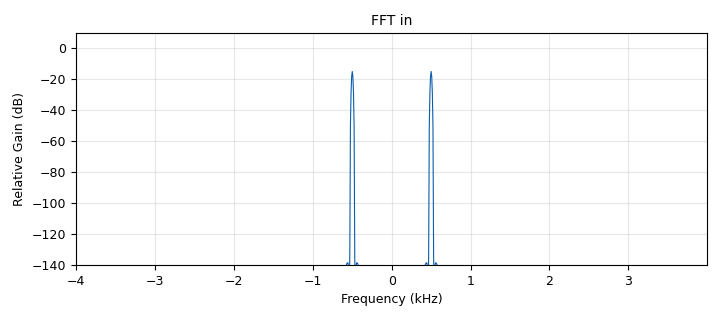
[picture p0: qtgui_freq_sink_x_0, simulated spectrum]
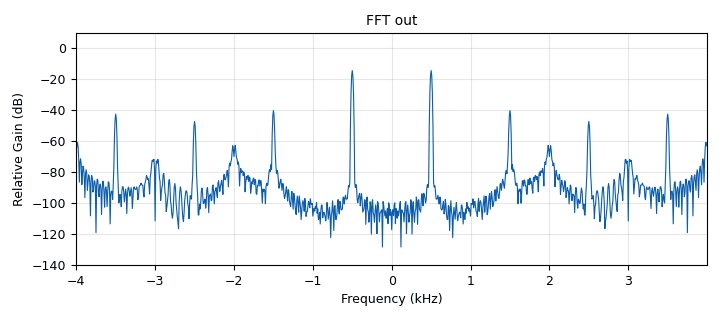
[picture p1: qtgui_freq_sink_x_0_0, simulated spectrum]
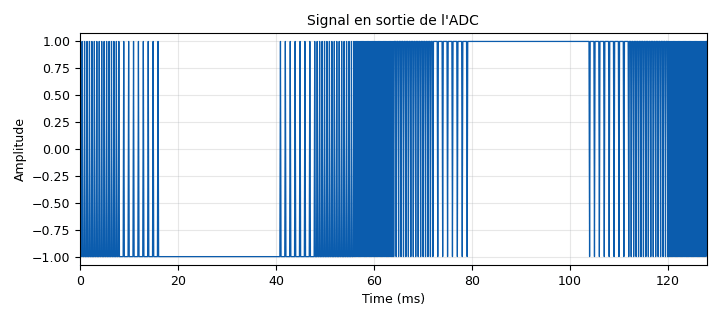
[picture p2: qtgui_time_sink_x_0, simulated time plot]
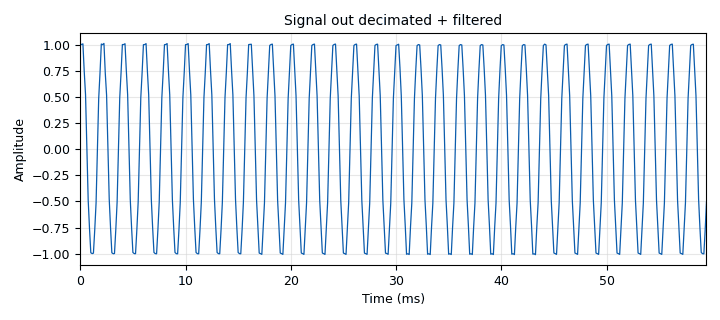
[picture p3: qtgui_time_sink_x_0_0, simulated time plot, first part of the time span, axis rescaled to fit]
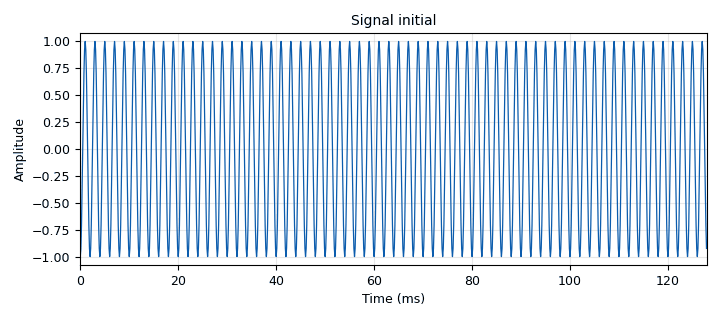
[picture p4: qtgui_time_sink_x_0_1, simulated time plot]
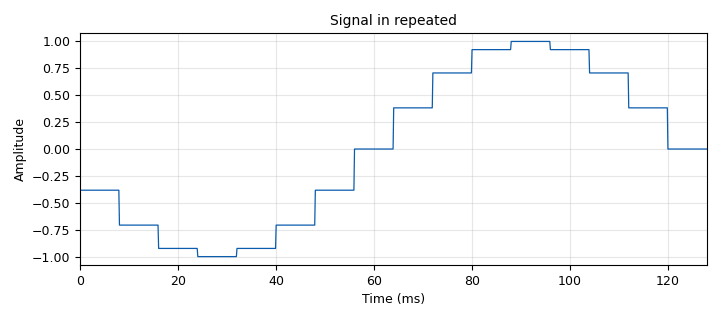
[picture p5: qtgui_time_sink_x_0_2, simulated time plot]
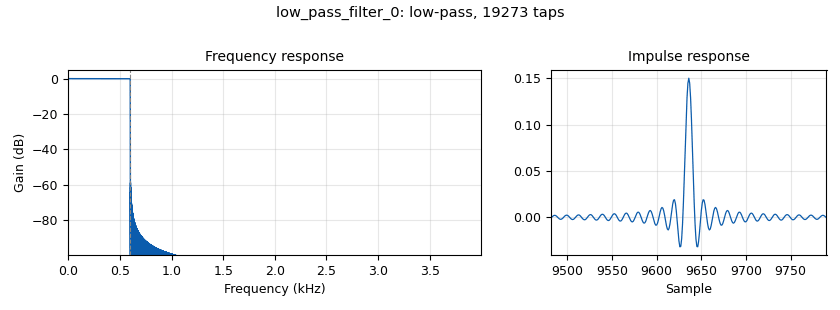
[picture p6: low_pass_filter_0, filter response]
options:
  parameters:
    author: IvanB
    generate_options: qt_gui
    id: untitled
    output_language: python
    title: Not titled yet
  states: {}

blocks:
- name: Vpp
  id: variable
  parameters:
    value: '2'
  states: {}
- name: cutoff_freq
  id: variable
  parameters:
    value: '600'
  states: {}
- name: enob
  id: variable
  parameters:
    value: '3'
  states: {}
- name: fs
  id: variable
  parameters:
    value: '8000'
  states: {}
- name: n_samples
  id: variable
  parameters:
    value: fs*time
  states: {}
- name: time
  id: variable
  parameters:
    value: '0.5'
  states: {}
- name: upsampling
  id: variable
  parameters:
    value: '64'
  states: {}
- name: analog_sig_source_x_0
  id: analog_sig_source_x
  parameters:
    amp: '1'
    freq: '500'
    offset: '0'
    phase: '0'
    samp_rate: fs
    type: float
    waveform: analog.GR_COS_WAVE
  states: {}
- name: blocks_repeat_0
  id: blocks_repeat
  parameters:
    interp: upsampling
    type: float
  states: {}
- name: epy_block_0
  id: epy_block
  parameters:
    Vpp: Vpp
    _source_code: |-
      import numpy as np
      from gnuradio import gr

      class ADC_delta_sigma_sinus(gr.sync_block):  
          """ADC Delta Sigma Block"""

          def __init__(self, Vpp=2, enob=3, upsampling=64):  # only default arguments here
              """arguments to this function show up as parameters in GRC"""
              gr.sync_block.__init__(
                  self,
                  name='ADC delta sigma sinus',   # will show up in GRC
                  in_sig=[np.float32],
                  out_sig=[np.float32]
              )
              self.Vpp = Vpp
              self.enob = enob
              self.upsampling = upsampling

          def ADC_Delta_Sigma(self, signal_in):
              signal_feedback = np.zeros(len(signal_in))
              signal_integrator = np.zeros(len(signal_in))
              signal_out = np.zeros(len(signal_in))
              
              # Loop
              for i in np.arange(0, len(signal_in)):
                  # Delta
                  if i == 0:
                      signal_feedback[i] = signal_in[i]
                  else:
                      signal_feedback[i] = signal_in[i] - signal_out[i-1]
                  
                  # Intégrateur
                  if i == 0:
                      signal_integrator[i] = signal_feedback[i]
                  else:
                      signal_integrator[i] = signal_feedback[i] + signal_integrator[i-1]

                  signal_integrator[i] = self.Vpp / (2**self.enob) * np.round(signal_integrator[i] / (self.Vpp / (2**self.enob)))
              
                  # Comparateur
                  if signal_integrator[i] >= 0:
                      signal_out[i] = self.Vpp / 2
                  else:
                      signal_out[i] = -self.Vpp / 2
                      
              return signal_out

          def work(self, input_items, output_items):
              signal_in = input_items[0]
              signal_out = self.ADC_Delta_Sigma(signal_in)
              output_items[0][:] = signal_out
              return len(output_items[0])
    enob: enob
    upsampling: upsampling
  states: {}
- name: low_pass_filter_0
  id: low_pass_filter
  parameters:
    cutoff_freq: cutoff_freq
    decim: upsampling
    gain: '1'
    samp_rate: fs
    type: fir_filter_fff
    width: '1'
    win: window.WIN_HAMMING
  states: {}
- name: qtgui_freq_sink_x_0
  id: qtgui_freq_sink_x
  parameters:
    bw: fs
    fc: '0'
    fftsize: '1024'
    gui_hint: 4,0,1,1
    name: '"FFT in"'
    type: float
  states: {}
- name: qtgui_freq_sink_x_0_0
  id: qtgui_freq_sink_x
  parameters:
    bw: fs
    fc: '0'
    fftsize: '1024'
    gui_hint: 5,0,1,1
    name: '"FFT out"'
    type: float
  states: {}
- name: qtgui_time_sink_x_0
  id: qtgui_time_sink_x
  parameters:
    gui_hint: 2,0,1,1
    name: '"Signal en sortie de l''ADC"'
    size: '1024'
    srate: fs
    type: float
  states: {}
- name: qtgui_time_sink_x_0_0
  id: qtgui_time_sink_x
  parameters:
    gui_hint: 3,0,1,1
    name: '"Signal out decimated + filtered"'
    size: '1024'
    srate: fs
    type: float
  states: {}
- name: qtgui_time_sink_x_0_1
  id: qtgui_time_sink_x
  parameters:
    entags: 'False'
    gui_hint: 0,0,1,1
    name: '"Signal initial"'
    size: '1024'
    srate: fs
    type: float
  states: {}
- name: qtgui_time_sink_x_0_2
  id: qtgui_time_sink_x
  parameters:
    gui_hint: 1,0,1,1
    name: '"Signal in repeated"'
    size: '1024'
    srate: fs
    type: float
  states: {}

connections:
- [analog_sig_source_x_0, '0', blocks_repeat_0, '0']
- [analog_sig_source_x_0, '0', qtgui_freq_sink_x_0, '0']
- [analog_sig_source_x_0, '0', qtgui_time_sink_x_0_1, '0']
- [blocks_repeat_0, '0', epy_block_0, '0']
- [blocks_repeat_0, '0', qtgui_time_sink_x_0_2, '0']
- [epy_block_0, '0', low_pass_filter_0, '0']
- [epy_block_0, '0', qtgui_time_sink_x_0, '0']
- [low_pass_filter_0, '0', qtgui_freq_sink_x_0_0, '0']
- [low_pass_filter_0, '0', qtgui_time_sink_x_0_0, '0']

metadata:
  file_format: 1
  grc_version: 3.10.10.0
